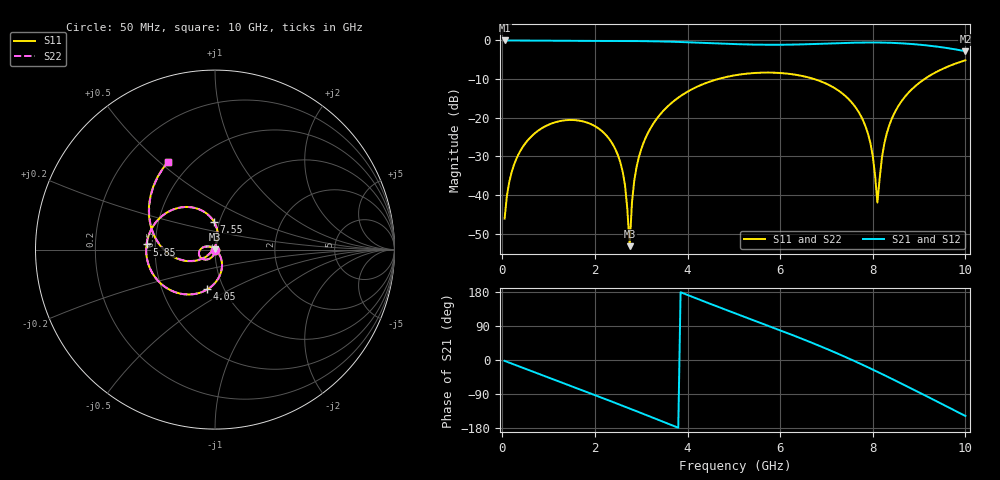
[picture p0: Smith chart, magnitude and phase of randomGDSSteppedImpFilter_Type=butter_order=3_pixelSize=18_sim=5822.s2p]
! freq	dB(S11)	phase(S11)	dB(S12)	phase(S12)
!  dB(S21)	phase(S21)	dB(S22)	phase(S22)
!S-par simulation data
#  GHz  S  DB  R 50
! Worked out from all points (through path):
!   200 points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, 50 MHz to 10 GHz, reference 50 ohm
!   highest |S21| = -0.01 dB at 50 MHz (marker M1); lowest = -2.8 dB at 10 GHz (marker M2)
!   group delay of S21, straight-line fit = 138 ps
!   lowest |S11| = -53.3 dB at 2.75 GHz (marker M3), VSWR 1.00, Z = 50.2 + j0.129 ohm
!   |S11| at or under -10 dB: start of sweep to 4.66 GHz; 6.734 GHz to 9.117 GHz (2.382 GHz wide, 30.1 % of centre)
!   |S22| runs from -53.2 to -5.1 dB; largest |S21 - S12| = 0
!   S11 on the Smith chart (normalised r, x): 50 MHz: 1.00, -0.01; 4.05 GHz: 0.84, -0.39; 5.85 GHz: 0.45, +0.03; 7.55 GHz: 0.94, +0.30; 10 GHz: 0.38, +0.53
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0.05  -46.14 -89.7  -0.01 -2.4  -0.01 -2.4  -46.14 -89.7
0.2  -34.20 -99.0  -0.02 -9.4  -0.02 -9.4  -34.20 -99.0
0.55  -25.85 -116.2  -0.05 -25.6  -0.05 -25.6  -25.85 -116.2
1.75  -20.98 -172.3  -0.12 -81.0  -0.12 -81.0  -20.98 -172.3
2.5  -29.81 151.4  -0.14 -116.1  -0.14 -116.1  -29.81 151.3
2.65  -37.49 141.6  -0.14 -123.2  -0.14 -123.2  -37.49 141.5
2.75  -53.27 36.3  -0.15 -128.0  -0.15 -128.0  -53.23 36.4
2.8  -42.00 -33.2  -0.15 -130.4  -0.15 -130.4  -42.00 -33.0
2.9  -32.73 -43.3  -0.16 -135.2  -0.16 -135.2  -32.73 -43.3
3.4  -19.29 -69.4  -0.25 -159.4  -0.25 -159.4  -19.29 -69.4
4.05  -12.93 -100.9  -0.49 169.2  -0.49 169.2  -12.93 -100.9
5.05  -8.97 -147.8  -0.96 122.1  -0.96 122.1  -8.97 -147.8
5.85  -8.35 175.6  -1.13 85.3  -1.13 85.3  -8.35 175.7
6.7  -9.87 135.5  -0.94 44.8  -0.94 44.8  -9.87 135.5
7.55  -16.12 92.2  -0.60 0.3  -0.60 0.3  -16.12 92.4
7.9  -24.30 76.8  -0.53 -19.5  -0.53 -19.5  -24.28 77.5
8  -29.91 77.8  -0.53 -25.3  -0.53 -25.3  -29.84 79.3
8.1  -41.97 142.0  -0.54 -31.1  -0.54 -31.1  -41.00 142.5
8.2  -30.14 -143.0  -0.55 -37.0  -0.55 -37.0  -30.07 -144.9
8.35  -22.21 -143.2  -0.60 -46.0  -0.60 -46.0  -22.20 -144.1
9.1  -10.14 174.8  -1.20 -91.7  -1.20 -91.7  -10.14 174.4
10  -5.14 118.5  -2.79 -147.7  -2.79 -147.7  -5.14 118.1
